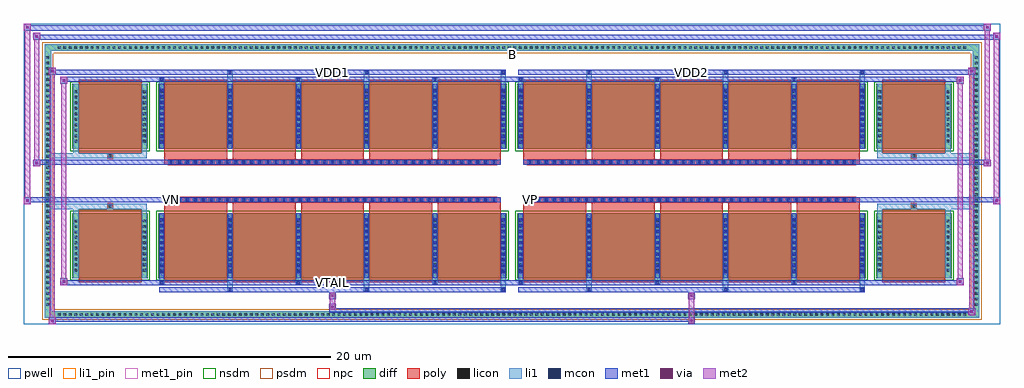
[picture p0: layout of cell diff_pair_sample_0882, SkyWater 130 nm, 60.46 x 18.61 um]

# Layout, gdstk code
import gdstk
lib = gdstk.Library(unit=1e-6, precision=5e-09)
def R(c, l, rs):  # rectangles x0, y0, x1, y1
    for r in rs: c.add(gdstk.rectangle(r[:2], r[2:], *l))
def A(c, l, x, y, w, h, nx, ny, dx, dy):  # array of equal rectangles
    R(c, l, [(x+i*dx, y+j*dy, x+i*dx+w, y+j*dy+h) for i in range(nx) for j in range(ny)])
def P(c, l, *ps):  # polygons
    for p in ps: c.add(gdstk.Polygon(p, *l))
pwell = (64, 44)
diff = (65, 20)
poly = (66, 20)
licon = (66, 44)
li1_pin = (67, 16)
li1 = (67, 20)
mcon = (67, 44)
met1_pin = (68, 16)
met1 = (68, 20)
via = (68, 44)
met2 = (69, 20)
nsdm = (93, 44)
psdm = (94, 20)
npc = (95, 20)

diff_pair_sample_0882 = lib.new_cell('diff_pair_sample_0882')
R(diff_pair_sample_0882, pwell, [(-30.23,-8.87,30.23,9.74), (-27.55,-7.06,-0.01,-0.8), (0.01,-7.06,27.55,-0.8), (-27.55,0.8,-0.01,7.06), (0.01,0.8,27.55,7.06)])
A(diff_pair_sample_0882, diff, -28.255, -8.47, 0.41, 0.41, 166, 2, 0.34, 16.53)
A(diff_pair_sample_0882, diff, -28.96, -7.855, 0.41, 0.41, 1, 46, 0, 0.34)
A(diff_pair_sample_0882, diff, 28.55, -7.855, 0.41, 0.41, 1, 46, 0, 0.34)
R(diff_pair_sample_0882, diff, [(-28.255,-8.47,28.255,-8.06), (-28.96,-7.855,-28.55,7.855), (28.55,-7.855,28.96,7.855), (-27.24,-6.015,-22.56,-1.985), (-21.92,-6.015,-0.32,-1.985), (0.32,-6.015,21.92,-1.985), (22.56,-6.015,27.24,-1.985), (-27.24,1.985,-22.56,6.015), (-21.92,1.985,-0.32,6.015), (0.32,1.985,21.92,6.015), (22.56,1.985,27.24,6.015), (-28.255,8.06,28.255,8.47)])
P(diff_pair_sample_0882, diff, [(28.96,8.47),(-28.96,8.47),(-28.96,-8.06),(-28.55,-8.06),(-28.55,8.06),(28.55,8.06),(28.55,-8.06),(-28.55,-8.06),(-28.96,-8.06),(-28.96,-8.47),(28.96,-8.47)])
A(diff_pair_sample_0882, poly, -21.53, -6.265, 3.9, 4.53, 5, 2, 4.23, 8)
A(diff_pair_sample_0882, poly, 0.71, -6.265, 3.9, 4.53, 5, 2, 4.23, 8)
A(diff_pair_sample_0882, poly, -21.53, -1.735, 3.9, 0.405, 5, 2, 4.23, 3.065)
A(diff_pair_sample_0882, poly, 0.71, -1.735, 3.9, 0.405, 5, 2, 4.23, 3.065)
A(diff_pair_sample_0882, poly, -21.285, -1.33, 0.33, 0.33, 41, 2, 0.5, 2.33)
A(diff_pair_sample_0882, poly, 0.955, -1.33, 0.33, 0.33, 41, 2, 0.5, 2.33)
R(diff_pair_sample_0882, poly, [(-26.85,-6.265,-22.95,-1.735), (22.95,-6.265,26.85,-1.735), (-25.065,-1.735,-24.735,-1.405), (-25.065,-1.735,-24.735,-1.405), (24.735,-1.735,25.065,-1.405), (24.735,-1.735,25.065,-1.405), (-21.53,-1.33,-0.71,-1), (0.71,-1.33,21.53,-1), (-21.53,1,-0.71,1.33), (0.71,1,21.53,1.33), (-25.065,1.405,-24.735,1.735), (-25.065,1.405,-24.735,1.735), (24.735,1.405,25.065,1.735), (24.735,1.405,25.065,1.735), (-26.85,1.735,-22.95,6.265), (22.95,1.735,26.85,6.265)])
A(diff_pair_sample_0882, licon, -28.135, -8.35, 0.17, 0.17, 166, 2, 0.34, 16.53)
A(diff_pair_sample_0882, licon, -28.84, -7.735, 0.17, 0.17, 1, 46, 0, 0.34)
A(diff_pair_sample_0882, licon, 28.67, -7.735, 0.17, 0.17, 1, 46, 0, 0.34)
A(diff_pair_sample_0882, licon, -27.1, -5.615, 0.17, 0.17, 1, 10, 0, 0.34)
A(diff_pair_sample_0882, licon, -22.87, -5.615, 0.17, 0.17, 1, 10, 0, 0.34)
A(diff_pair_sample_0882, licon, -21.78, -5.615, 0.17, 0.17, 6, 10, 4.23, 0.34)
A(diff_pair_sample_0882, licon, 0.46, -5.615, 0.17, 0.17, 6, 10, 4.23, 0.34)
A(diff_pair_sample_0882, licon, 22.7, -5.615, 0.17, 0.17, 1, 10, 0, 0.34)
A(diff_pair_sample_0882, licon, 26.93, -5.615, 0.17, 0.17, 1, 10, 0, 0.34)
A(diff_pair_sample_0882, licon, -21.205, -1.25, 0.17, 0.17, 41, 2, 0.5, 2.33)
A(diff_pair_sample_0882, licon, 1.035, -1.25, 0.17, 0.17, 41, 2, 0.5, 2.33)
A(diff_pair_sample_0882, licon, -27.1, 2.385, 0.17, 0.17, 1, 10, 0, 0.34)
A(diff_pair_sample_0882, licon, -22.87, 2.385, 0.17, 0.17, 1, 10, 0, 0.34)
A(diff_pair_sample_0882, licon, -21.78, 2.385, 0.17, 0.17, 6, 10, 4.23, 0.34)
A(diff_pair_sample_0882, licon, 0.46, 2.385, 0.17, 0.17, 6, 10, 4.23, 0.34)
A(diff_pair_sample_0882, licon, 22.7, 2.385, 0.17, 0.17, 1, 10, 0, 0.34)
A(diff_pair_sample_0882, licon, 26.93, 2.385, 0.17, 0.17, 1, 10, 0, 0.34)
R(diff_pair_sample_0882, licon, [(-24.985,-1.655,-24.815,-1.485), (24.815,-1.655,24.985,-1.485), (-24.985,1.485,-24.815,1.655), (24.815,1.485,24.985,1.655)])
R(diff_pair_sample_0882, li1_pin, [(-0.25,7.56,0.25,8.06)])
A(diff_pair_sample_0882, li1, -28.215, -8.43, 0.33, 0.33, 166, 2, 0.34, 16.53)
A(diff_pair_sample_0882, li1, -28.92, -7.815, 0.33, 0.33, 1, 46, 0, 0.34)
A(diff_pair_sample_0882, li1, 28.59, -7.815, 0.33, 0.33, 1, 46, 0, 0.34)
A(diff_pair_sample_0882, li1, -17.63, -6.82, 0.33, 0.805, 3, 2, 8.46, 12.835)
A(diff_pair_sample_0882, li1, -17.55, -6.82, 0.17, 0.17, 3, 2, 8.46, 13.47)
A(diff_pair_sample_0882, li1, 4.61, -6.82, 0.33, 0.805, 3, 2, 8.46, 12.835)
A(diff_pair_sample_0882, li1, 4.69, -6.82, 0.17, 0.17, 3, 2, 8.46, 13.47)
A(diff_pair_sample_0882, li1, -21.86, -6.39, 0.33, 0.375, 3, 2, 8.46, 12.405)
A(diff_pair_sample_0882, li1, -21.78, -6.39, 0.17, 0.17, 3, 2, 8.46, 12.61)
A(diff_pair_sample_0882, li1, 0.38, -6.39, 0.33, 0.375, 3, 2, 8.46, 12.405)
A(diff_pair_sample_0882, li1, 0.46, -6.39, 0.17, 0.17, 3, 2, 8.46, 12.61)
A(diff_pair_sample_0882, li1, -21.86, -6.015, 0.33, 4.03, 6, 2, 4.23, 8)
A(diff_pair_sample_0882, li1, 0.38, -6.015, 0.33, 4.03, 6, 2, 4.23, 8)
A(diff_pair_sample_0882, li1, -21.78, -5.705, 0.17, 0.17, 6, 10, 4.23, 0.36)
A(diff_pair_sample_0882, li1, -21.78, -5.705, 0.17, 3.41, 6, 2, 4.23, 8)
A(diff_pair_sample_0882, li1, 0.46, -5.705, 0.17, 0.17, 6, 10, 4.23, 0.36)
A(diff_pair_sample_0882, li1, 0.46, -5.705, 0.17, 3.41, 6, 2, 4.23, 8)
A(diff_pair_sample_0882, li1, -27.18, -5.695, 0.33, 0.33, 1, 10, 0, 0.34)
A(diff_pair_sample_0882, li1, -22.95, -5.695, 0.33, 0.33, 1, 10, 0, 0.34)
A(diff_pair_sample_0882, li1, -21.86, -5.695, 0.33, 0.33, 6, 10, 4.23, 0.34)
A(diff_pair_sample_0882, li1, 0.38, -5.695, 0.33, 0.33, 6, 10, 4.23, 0.34)
A(diff_pair_sample_0882, li1, 22.62, -5.695, 0.33, 0.33, 1, 10, 0, 0.34)
A(diff_pair_sample_0882, li1, 26.85, -5.695, 0.33, 0.33, 1, 10, 0, 0.34)
A(diff_pair_sample_0882, li1, -21.285, -1.33, 0.33, 0.33, 41, 2, 0.5, 2.33)
A(diff_pair_sample_0882, li1, 0.955, -1.33, 0.33, 0.33, 41, 2, 0.5, 2.33)
A(diff_pair_sample_0882, li1, -21.78, 2.295, 0.17, 0.17, 6, 10, 4.23, 0.36)
A(diff_pair_sample_0882, li1, 0.46, 2.295, 0.17, 0.17, 6, 10, 4.23, 0.36)
A(diff_pair_sample_0882, li1, -27.18, 2.305, 0.33, 0.33, 1, 10, 0, 0.34)
A(diff_pair_sample_0882, li1, -22.95, 2.305, 0.33, 0.33, 1, 10, 0, 0.34)
A(diff_pair_sample_0882, li1, -21.86, 2.305, 0.33, 0.33, 6, 10, 4.23, 0.34)
A(diff_pair_sample_0882, li1, 0.38, 2.305, 0.33, 0.33, 6, 10, 4.23, 0.34)
A(diff_pair_sample_0882, li1, 22.62, 2.305, 0.33, 0.33, 1, 10, 0, 0.34)
A(diff_pair_sample_0882, li1, 26.85, 2.305, 0.33, 0.33, 1, 10, 0, 0.34)
R(diff_pair_sample_0882, li1, [(-28.96,-8.47,-28.55,-8.06), (-28.96,-8.47,-28.55,-8.06), (-28.55,-8.47,28.55,-8.06), (28.55,-8.47,28.96,-8.06), (28.55,-8.47,28.96,-8.06), (-28.96,-8.06,-28.55,8.06), (28.55,-8.06,28.96,8.06), (-27.18,-6.015,-26.85,-1.985), (-22.95,-6.015,-22.62,-1.985), (22.62,-6.015,22.95,-1.985), (26.85,-6.015,27.18,-1.985), (-27.18,-1.985,-26.85,-1.405), (-22.95,-1.985,-22.62,-1.405), (22.62,-1.985,22.95,-1.405), (26.85,-1.985,27.18,-1.405), (-28.96,-1.735,-25.065,-1.405), (-27.18,-1.735,-25.065,-1.405), (-25.065,-1.735,-24.735,-1.405), (-24.735,-1.735,-22.62,-1.405), (22.62,-1.735,24.735,-1.405), (24.735,-1.735,25.065,-1.405), (24.735,-1.735,28.96,-1.405), (25.065,-1.735,27.18,-1.405), (-28.96,1.405,-25.065,1.735), (-27.18,1.405,-25.065,1.735), (-27.18,1.405,-26.85,1.985), (-25.065,1.405,-24.735,1.735), (-24.735,1.405,-22.62,1.735), (-22.95,1.405,-22.62,1.985), (22.62,1.405,24.735,1.735), (22.62,1.405,22.95,1.985), (24.735,1.405,25.065,1.735), (24.735,1.405,28.96,1.735), (25.065,1.405,27.18,1.735), (26.85,1.405,27.18,1.985), (-27.18,1.985,-26.85,6.015), (-22.95,1.985,-22.62,6.015), (22.62,1.985,22.95,6.015), (26.85,1.985,27.18,6.015), (-28.96,8.06,-28.55,8.47), (-28.96,8.06,-28.55,8.47), (-28.55,8.06,28.55,8.47), (28.55,8.06,28.96,8.47), (28.55,8.06,28.96,8.47)])
A(diff_pair_sample_0882, mcon, -17.55, -6.82, 0.17, 0.17, 3, 2, 8.46, 13.47)
A(diff_pair_sample_0882, mcon, 4.69, -6.82, 0.17, 0.17, 3, 2, 8.46, 13.47)
A(diff_pair_sample_0882, mcon, -21.78, -6.39, 0.17, 0.17, 3, 2, 8.46, 12.61)
A(diff_pair_sample_0882, mcon, 0.46, -6.39, 0.17, 0.17, 3, 2, 8.46, 12.61)
A(diff_pair_sample_0882, mcon, -21.78, -5.705, 0.17, 0.17, 6, 10, 4.23, 0.36)
A(diff_pair_sample_0882, mcon, 0.46, -5.705, 0.17, 0.17, 6, 10, 4.23, 0.36)
A(diff_pair_sample_0882, mcon, -21.205, -1.25, 0.17, 0.17, 41, 2, 0.5, 2.33)
A(diff_pair_sample_0882, mcon, 1.035, -1.25, 0.17, 0.17, 41, 2, 0.5, 2.33)
A(diff_pair_sample_0882, mcon, -21.78, 2.295, 0.17, 0.17, 6, 10, 4.23, 0.36)
A(diff_pair_sample_0882, mcon, 0.46, 2.295, 0.17, 0.17, 6, 10, 4.23, 0.36)
R(diff_pair_sample_0882, met1_pin, [(-11.255,-6.43,-10.985,-6.16), (-21.255,-1.29,-20.985,-1.02), (0.985,-1.29,1.255,-1.02), (-11.255,6.61,-10.985,6.88), (10.985,6.61,11.255,6.88)])
A(diff_pair_sample_0882, met1, -17.61, -6.88, 0.29, 0.29, 3, 2, 8.46, 13.47)
A(diff_pair_sample_0882, met1, 4.63, -6.88, 0.29, 0.29, 3, 2, 8.46, 13.47)
A(diff_pair_sample_0882, met1, -21.84, -6.45, 0.29, 0.29, 3, 2, 8.46, 12.61)
A(diff_pair_sample_0882, met1, 0.4, -6.45, 0.29, 0.29, 3, 2, 8.46, 12.61)
A(diff_pair_sample_0882, met1, -21.84, -6.015, 0.29, 4.03, 6, 2, 4.23, 8)
A(diff_pair_sample_0882, met1, 0.4, -6.015, 0.29, 4.03, 6, 2, 4.23, 8)
A(diff_pair_sample_0882, met1, -21.84, -5.765, 0.29, 0.29, 6, 10, 4.23, 0.36)
A(diff_pair_sample_0882, met1, 0.4, -5.765, 0.29, 0.29, 6, 10, 4.23, 0.36)
A(diff_pair_sample_0882, met1, -21.265, -1.31, 0.29, 0.29, 41, 2, 0.5, 2.33)
A(diff_pair_sample_0882, met1, 0.975, -1.31, 0.29, 0.29, 41, 2, 0.5, 2.33)
A(diff_pair_sample_0882, met1, -21.84, 2.235, 0.29, 0.29, 6, 10, 4.23, 0.36)
A(diff_pair_sample_0882, met1, 0.4, 2.235, 0.29, 0.29, 6, 10, 4.23, 0.36)
R(diff_pair_sample_0882, met1, [(-28.69,-8.87,-28.26,-8.44), (10.905,-8.87,11.335,-8.44), (-28.69,-8.73,11.335,-8.44), (28.26,-8.3,28.69,-7.87), (-11.335,-8.16,28.69,-7.87), (-11.335,-8.02,-10.905,-7.59), (-11.335,-7.31,-10.905,-6.88), (10.905,-7.31,11.335,-6.88), (-21.84,-6.88,-0.4,-6.59), (0.4,-6.88,21.84,-6.59), (-27.98,-6.45,-27.55,-6.02), (-27.98,-6.45,-21.84,-6.16), (-21.84,-6.45,-0.4,-6.16), (-0.4,-6.45,0.4,-6.16), (0.4,-6.45,21.84,-6.16), (21.84,-6.45,27.98,-6.16), (27.55,-6.45,27.98,-6.02), (-30.23,-1.43,-29.8,-1), (29.8,-1.43,30.23,-1), (-30.23,-1.33,-0.71,-1), (-21.53,-1.33,-0.71,-1), (0.71,-1.33,21.53,-1), (0.71,-1.33,30.23,-1), (-29.66,0.9,-29.23,1.33), (29.23,0.9,29.66,1.33), (-29.66,1,-21.53,1.33), (-21.53,1,-0.71,1.33), (0.71,1,21.53,1.33), (21.53,1,29.66,1.33), (-27.98,6.02,-27.55,6.45), (27.55,6.02,27.98,6.45), (-27.98,6.16,-21.84,6.45), (-21.84,6.16,-0.4,6.45), (-0.4,6.16,0.4,6.45), (0.4,6.16,21.84,6.45), (21.84,6.16,27.98,6.45), (-28.69,6.59,-28.26,7.02), (-28.69,6.59,-21.84,6.88), (-21.84,6.59,-0.4,6.88), (0.4,6.59,21.84,6.88), (21.84,6.59,28.69,6.88), (28.26,6.59,28.69,7.02), (-29.66,8.74,-29.23,9.17), (-29.66,8.74,-27.55,9.07), (-27.55,8.74,27.55,9.07), (27.55,8.74,30.23,9.07), (29.8,8.74,30.23,9.17), (-30.23,9.31,-29.8,9.74), (-30.23,9.31,-27.55,9.64), (-27.55,9.31,27.55,9.64), (27.55,9.31,29.66,9.64), (29.23,9.31,29.66,9.74)])
R(diff_pair_sample_0882, via, [(-28.55,-8.73,-28.4,-8.58), (11.045,-8.73,11.195,-8.58), (28.4,-8.16,28.55,-8.01), (-11.195,-7.88,-11.045,-7.73), (-11.195,-7.17,-11.045,-7.02), (11.045,-7.17,11.195,-7.02), (-27.84,-6.31,-27.69,-6.16), (27.69,-6.31,27.84,-6.16), (-30.09,-1.29,-29.94,-1.14), (29.94,-1.29,30.09,-1.14), (-29.52,1.04,-29.37,1.19), (29.37,1.04,29.52,1.19), (-27.84,6.16,-27.69,6.31), (27.69,6.16,27.84,6.31), (-28.55,6.73,-28.4,6.88), (28.4,6.73,28.55,6.88), (-29.52,8.88,-29.37,9.03), (29.94,8.88,30.09,9.03), (-30.09,9.45,-29.94,9.6), (29.37,9.45,29.52,9.6)])
R(diff_pair_sample_0882, met2, [(-28.69,-8.87,-28.26,-8.44), (-28.62,-8.87,-28.33,7.02), (-28.33,-8.87,-28.26,-8.44), (-28.64,-8.82,-28.31,-8.49), (10.955,-8.82,11.285,-8.49), (10.955,-8.49,11.285,-7.26), (28.26,-8.3,28.69,-7.87), (28.33,-8.3,28.62,7.02), (28.62,-8.3,28.69,-7.87), (28.31,-8.25,28.64,-7.92), (-11.285,-7.97,-10.955,-7.64), (-11.285,-7.64,-10.955,-7.26), (-11.285,-7.26,-10.955,-6.93), (10.955,-7.26,11.285,-6.93), (-27.98,-6.45,-27.55,-6.02), (-27.91,-6.45,-27.62,6.45), (-27.62,-6.45,-27.55,-6.02), (27.55,-6.45,27.98,-6.02), (27.62,-6.45,27.91,6.45), (27.91,-6.45,27.98,-6.02), (-27.93,-6.4,-27.6,-6.07), (27.6,-6.4,27.93,-6.07), (-30.23,-1.43,-29.8,-1), (-30.18,-1.43,-29.85,9.74), (-29.85,-1.43,-29.8,-1), (29.8,-1.43,30.23,-1), (29.85,-1.43,30.18,9.17), (30.18,-1.43,30.23,-1), (-30.18,-1.38,-29.85,-1.05), (29.85,-1.38,30.18,-1.05), (-29.66,0.9,-29.23,1.33), (-29.61,0.9,-29.28,9.17), (-29.28,0.9,-29.23,1.33), (29.23,0.9,29.66,1.33), (29.28,0.9,29.61,9.74), (29.61,0.9,29.66,1.33), (-29.61,0.95,-29.28,1.28), (29.28,0.95,29.61,1.28), (-27.98,6.02,-27.55,6.45), (-27.62,6.02,-27.55,6.45), (27.55,6.02,27.98,6.45), (27.91,6.02,27.98,6.45), (-27.93,6.07,-27.6,6.4), (27.6,6.07,27.93,6.4), (-28.69,6.59,-28.26,7.02), (-28.33,6.59,-28.26,7.02), (28.26,6.59,28.69,7.02), (28.62,6.59,28.69,7.02), (-28.64,6.64,-28.31,6.97), (28.31,6.64,28.64,6.97), (-29.66,8.74,-29.23,9.17), (-29.28,8.74,-29.23,9.17), (29.8,8.74,30.23,9.17), (30.18,8.74,30.23,9.17), (-29.61,8.79,-29.28,9.12), (29.85,8.79,30.18,9.12), (-30.23,9.31,-29.8,9.74), (-29.85,9.31,-29.8,9.74), (29.23,9.31,29.66,9.74), (29.61,9.31,29.66,9.74), (-30.18,9.36,-29.85,9.69), (29.28,9.36,29.61,9.69)])
R(diff_pair_sample_0882, nsdm, [(-27.37,-6.145,-22.43,-1.855), (-22.05,-6.145,-0.19,-1.855), (0.19,-6.145,22.05,-1.855), (22.43,-6.145,27.37,-1.855), (-27.37,1.855,-22.43,6.145), (-22.05,1.855,-0.19,6.145), (0.19,1.855,22.05,6.145), (22.43,1.855,27.37,6.145)])
P(diff_pair_sample_0882, psdm, [(29.09,8.6),(-29.09,8.6),(-29.09,-7.93),(-28.42,-7.93),(-28.42,7.93),(28.42,7.93),(28.42,-7.93),(-28.42,-7.93),(-29.09,-7.93),(-29.09,-8.6),(29.09,-8.6)])
A(diff_pair_sample_0882, npc, -21.305, -1.35, 0.37, 0.37, 41, 2, 0.5, 2.33)
A(diff_pair_sample_0882, npc, 0.935, -1.35, 0.37, 0.37, 41, 2, 0.5, 2.33)
R(diff_pair_sample_0882, npc, [(-25.085,-1.755,-24.715,-1.385), (24.715,-1.755,25.085,-1.385), (-21.305,-1.35,-20.435,-0.98), (-21.305,-1.35,-20.435,-0.98), (-20.805,-1.35,-19.935,-0.98), (-20.805,-1.35,-19.935,-0.98), (-20.305,-1.35,-19.435,-0.98), (-20.305,-1.35,-19.435,-0.98), (-19.805,-1.35,-18.935,-0.98), (-19.805,-1.35,-18.935,-0.98), (-19.305,-1.35,-18.435,-0.98), (-19.305,-1.35,-18.435,-0.98), (-18.805,-1.35,-17.935,-0.98), (-18.805,-1.35,-17.935,-0.98), (-18.305,-1.35,-17.435,-0.98), (-18.305,-1.35,-17.435,-0.98), (-17.805,-1.35,-16.935,-0.98), (-17.805,-1.35,-16.935,-0.98), (-17.305,-1.35,-16.435,-0.98), (-17.305,-1.35,-16.435,-0.98), (-16.805,-1.35,-15.935,-0.98), (-16.805,-1.35,-15.935,-0.98), (-16.305,-1.35,-15.435,-0.98), (-16.305,-1.35,-15.435,-0.98), (-15.805,-1.35,-14.935,-0.98), (-15.805,-1.35,-14.935,-0.98), (-15.305,-1.35,-14.435,-0.98), (-15.305,-1.35,-14.435,-0.98), (-14.805,-1.35,-13.935,-0.98), (-14.805,-1.35,-13.935,-0.98), (-14.305,-1.35,-13.435,-0.98), (-14.305,-1.35,-13.435,-0.98), (-13.805,-1.35,-12.935,-0.98), (-13.805,-1.35,-12.935,-0.98), (-13.305,-1.35,-12.435,-0.98), (-13.305,-1.35,-12.435,-0.98), (-12.805,-1.35,-11.935,-0.98), (-12.805,-1.35,-11.935,-0.98), (-12.305,-1.35,-11.435,-0.98), (-12.305,-1.35,-11.435,-0.98), (-11.805,-1.35,-10.935,-0.98), (-11.805,-1.35,-10.935,-0.98), (-11.305,-1.35,-10.435,-0.98), (-11.305,-1.35,-10.435,-0.98), (-10.805,-1.35,-9.935,-0.98), (-10.805,-1.35,-9.935,-0.98), (-10.305,-1.35,-9.435,-0.98), (-10.305,-1.35,-9.435,-0.98), (-9.805,-1.35,-8.935,-0.98), (-9.805,-1.35,-8.935,-0.98), (-9.305,-1.35,-8.435,-0.98), (-9.305,-1.35,-8.435,-0.98), (-8.805,-1.35,-7.935,-0.98), (-8.805,-1.35,-7.935,-0.98), (-8.305,-1.35,-7.435,-0.98), (-8.305,-1.35,-7.435,-0.98), (-7.805,-1.35,-6.935,-0.98), (-7.805,-1.35,-6.935,-0.98), (-7.305,-1.35,-6.435,-0.98), (-7.305,-1.35,-6.435,-0.98), (-6.805,-1.35,-5.935,-0.98), (-6.805,-1.35,-5.935,-0.98), (-6.305,-1.35,-5.435,-0.98), (-6.305,-1.35,-5.435,-0.98), (-5.805,-1.35,-4.935,-0.98), (-5.805,-1.35,-4.935,-0.98), (-5.305,-1.35,-4.435,-0.98), (-5.305,-1.35,-4.435,-0.98), (-4.805,-1.35,-3.935,-0.98), (-4.805,-1.35,-3.935,-0.98), (-4.305,-1.35,-3.435,-0.98), (-4.305,-1.35,-3.435,-0.98), (-3.805,-1.35,-2.935,-0.98), (-3.805,-1.35,-2.935,-0.98), (-3.305,-1.35,-2.435,-0.98), (-3.305,-1.35,-2.435,-0.98), (-2.805,-1.35,-1.935,-0.98), (-2.805,-1.35,-1.935,-0.98), (-2.305,-1.35,-1.435,-0.98), (-2.305,-1.35,-1.435,-0.98), (-1.805,-1.35,-0.935,-0.98), (-1.805,-1.35,-0.935,-0.98), (0.935,-1.35,1.805,-0.98), (0.935,-1.35,1.805,-0.98), (1.435,-1.35,2.305,-0.98), (1.435,-1.35,2.305,-0.98), (1.935,-1.35,2.805,-0.98), (1.935,-1.35,2.805,-0.98), (2.435,-1.35,3.305,-0.98), (2.435,-1.35,3.305,-0.98), (2.935,-1.35,3.805,-0.98), (2.935,-1.35,3.805,-0.98), (3.435,-1.35,4.305,-0.98), (3.435,-1.35,4.305,-0.98), (3.935,-1.35,4.805,-0.98), (3.935,-1.35,4.805,-0.98), (4.435,-1.35,5.305,-0.98), (4.435,-1.35,5.305,-0.98), (4.935,-1.35,5.805,-0.98), (4.935,-1.35,5.805,-0.98), (5.435,-1.35,6.305,-0.98), (5.435,-1.35,6.305,-0.98), (5.935,-1.35,6.805,-0.98), (5.935,-1.35,6.805,-0.98), (6.435,-1.35,7.305,-0.98), (6.435,-1.35,7.305,-0.98), (6.935,-1.35,7.805,-0.98), (6.935,-1.35,7.805,-0.98), (7.435,-1.35,8.305,-0.98), (7.435,-1.35,8.305,-0.98), (7.935,-1.35,8.805,-0.98), (7.935,-1.35,8.805,-0.98), (8.435,-1.35,9.305,-0.98), (8.435,-1.35,9.305,-0.98), (8.935,-1.35,9.805,-0.98), (8.935,-1.35,9.805,-0.98), (9.435,-1.35,10.305,-0.98), (9.435,-1.35,10.305,-0.98), (9.935,-1.35,10.805,-0.98), (9.935,-1.35,10.805,-0.98), (10.435,-1.35,11.305,-0.98), (10.435,-1.35,11.305,-0.98), (10.935,-1.35,11.805,-0.98), (10.935,-1.35,11.805,-0.98), (11.435,-1.35,12.305,-0.98), (11.435,-1.35,12.305,-0.98), (11.935,-1.35,12.805,-0.98), (11.935,-1.35,12.805,-0.98), (12.435,-1.35,13.305,-0.98), (12.435,-1.35,13.305,-0.98), (12.935,-1.35,13.805,-0.98), (12.935,-1.35,13.805,-0.98), (13.435,-1.35,14.305,-0.98), (13.435,-1.35,14.305,-0.98), (13.935,-1.35,14.805,-0.98), (13.935,-1.35,14.805,-0.98), (14.435,-1.35,15.305,-0.98), (14.435,-1.35,15.305,-0.98), (14.935,-1.35,15.805,-0.98), (14.935,-1.35,15.805,-0.98), (15.435,-1.35,16.305,-0.98), (15.435,-1.35,16.305,-0.98), (15.935,-1.35,16.805,-0.98), (15.935,-1.35,16.805,-0.98), (16.435,-1.35,17.305,-0.98), (16.435,-1.35,17.305,-0.98), (16.935,-1.35,17.805,-0.98), (16.935,-1.35,17.805,-0.98), (17.435,-1.35,18.305,-0.98), (17.435,-1.35,18.305,-0.98), (17.935,-1.35,18.805,-0.98), (17.935,-1.35,18.805,-0.98), (18.435,-1.35,19.305,-0.98), (18.435,-1.35,19.305,-0.98), (18.935,-1.35,19.805,-0.98), (18.935,-1.35,19.805,-0.98), (19.435,-1.35,20.305,-0.98), (19.435,-1.35,20.305,-0.98), (19.935,-1.35,20.805,-0.98), (19.935,-1.35,20.805,-0.98), (20.435,-1.35,21.305,-0.98), (20.435,-1.35,21.305,-0.98), (-21.305,0.98,-20.435,1.35), (-21.305,0.98,-20.435,1.35), (-20.805,0.98,-19.935,1.35), (-20.805,0.98,-19.935,1.35), (-20.305,0.98,-19.435,1.35), (-20.305,0.98,-19.435,1.35), (-19.805,0.98,-18.935,1.35), (-19.805,0.98,-18.935,1.35), (-19.305,0.98,-18.435,1.35), (-19.305,0.98,-18.435,1.35), (-18.805,0.98,-17.935,1.35), (-18.805,0.98,-17.935,1.35), (-18.305,0.98,-17.435,1.35), (-18.305,0.98,-17.435,1.35), (-17.805,0.98,-16.935,1.35), (-17.805,0.98,-16.935,1.35), (-17.305,0.98,-16.435,1.35), (-17.305,0.98,-16.435,1.35), (-16.805,0.98,-15.935,1.35), (-16.805,0.98,-15.935,1.35), (-16.305,0.98,-15.435,1.35), (-16.305,0.98,-15.435,1.35), (-15.805,0.98,-14.935,1.35), (-15.805,0.98,-14.935,1.35), (-15.305,0.98,-14.435,1.35), (-15.305,0.98,-14.435,1.35), (-14.805,0.98,-13.935,1.35), (-14.805,0.98,-13.935,1.35), (-14.305,0.98,-13.435,1.35), (-14.305,0.98,-13.435,1.35), (-13.805,0.98,-12.935,1.35), (-13.805,0.98,-12.935,1.35), (-13.305,0.98,-12.435,1.35), (-13.305,0.98,-12.435,1.35), (-12.805,0.98,-11.935,1.35), (-12.805,0.98,-11.935,1.35), (-12.305,0.98,-11.435,1.35), (-12.305,0.98,-11.435,1.35), (-11.805,0.98,-10.935,1.35), (-11.805,0.98,-10.935,1.35), (-11.305,0.98,-10.435,1.35), (-11.305,0.98,-10.435,1.35), (-10.805,0.98,-9.935,1.35), (-10.805,0.98,-9.935,1.35), (-10.305,0.98,-9.435,1.35), (-10.305,0.98,-9.435,1.35), (-9.805,0.98,-8.935,1.35), (-9.805,0.98,-8.935,1.35), (-9.305,0.98,-8.435,1.35), (-9.305,0.98,-8.435,1.35), (-8.805,0.98,-7.935,1.35), (-8.805,0.98,-7.935,1.35), (-8.305,0.98,-7.435,1.35), (-8.305,0.98,-7.435,1.35), (-7.805,0.98,-6.935,1.35), (-7.805,0.98,-6.935,1.35), (-7.305,0.98,-6.435,1.35), (-7.305,0.98,-6.435,1.35), (-6.805,0.98,-5.935,1.35), (-6.805,0.98,-5.935,1.35), (-6.305,0.98,-5.435,1.35), (-6.305,0.98,-5.435,1.35), (-5.805,0.98,-4.935,1.35), (-5.805,0.98,-4.935,1.35), (-5.305,0.98,-4.435,1.35), (-5.305,0.98,-4.435,1.35), (-4.805,0.98,-3.935,1.35), (-4.805,0.98,-3.935,1.35), (-4.305,0.98,-3.435,1.35), (-4.305,0.98,-3.435,1.35), (-3.805,0.98,-2.935,1.35), (-3.805,0.98,-2.935,1.35), (-3.305,0.98,-2.435,1.35), (-3.305,0.98,-2.435,1.35), (-2.805,0.98,-1.935,1.35), (-2.805,0.98,-1.935,1.35), (-2.305,0.98,-1.435,1.35), (-2.305,0.98,-1.435,1.35), (-1.805,0.98,-0.935,1.35), (-1.805,0.98,-0.935,1.35), (0.935,0.98,1.805,1.35), (0.935,0.98,1.805,1.35), (1.435,0.98,2.305,1.35), (1.435,0.98,2.305,1.35), (1.935,0.98,2.805,1.35), (1.935,0.98,2.805,1.35), (2.435,0.98,3.305,1.35), (2.435,0.98,3.305,1.35), (2.935,0.98,3.805,1.35), (2.935,0.98,3.805,1.35), (3.435,0.98,4.305,1.35), (3.435,0.98,4.305,1.35), (3.935,0.98,4.805,1.35), (3.935,0.98,4.805,1.35), (4.435,0.98,5.305,1.35), (4.435,0.98,5.305,1.35), (4.935,0.98,5.805,1.35), (4.935,0.98,5.805,1.35), (5.435,0.98,6.305,1.35), (5.435,0.98,6.305,1.35), (5.935,0.98,6.805,1.35), (5.935,0.98,6.805,1.35), (6.435,0.98,7.305,1.35), (6.435,0.98,7.305,1.35), (6.935,0.98,7.805,1.35), (6.935,0.98,7.805,1.35), (7.435,0.98,8.305,1.35), (7.435,0.98,8.305,1.35), (7.935,0.98,8.805,1.35), (7.935,0.98,8.805,1.35), (8.435,0.98,9.305,1.35), (8.435,0.98,9.305,1.35), (8.935,0.98,9.805,1.35), (8.935,0.98,9.805,1.35), (9.435,0.98,10.305,1.35), (9.435,0.98,10.305,1.35), (9.935,0.98,10.805,1.35), (9.935,0.98,10.805,1.35), (10.435,0.98,11.305,1.35), (10.435,0.98,11.305,1.35), (10.935,0.98,11.805,1.35), (10.935,0.98,11.805,1.35), (11.435,0.98,12.305,1.35), (11.435,0.98,12.305,1.35), (11.935,0.98,12.805,1.35), (11.935,0.98,12.805,1.35), (12.435,0.98,13.305,1.35), (12.435,0.98,13.305,1.35), (12.935,0.98,13.805,1.35), (12.935,0.98,13.805,1.35), (13.435,0.98,14.305,1.35), (13.435,0.98,14.305,1.35), (13.935,0.98,14.805,1.35), (13.935,0.98,14.805,1.35), (14.435,0.98,15.305,1.35), (14.435,0.98,15.305,1.35), (14.935,0.98,15.805,1.35), (14.935,0.98,15.805,1.35), (15.435,0.98,16.305,1.35), (15.435,0.98,16.305,1.35), (15.935,0.98,16.805,1.35), (15.935,0.98,16.805,1.35), (16.435,0.98,17.305,1.35), (16.435,0.98,17.305,1.35), (16.935,0.98,17.805,1.35), (16.935,0.98,17.805,1.35), (17.435,0.98,18.305,1.35), (17.435,0.98,18.305,1.35), (17.935,0.98,18.805,1.35), (17.935,0.98,18.805,1.35), (18.435,0.98,19.305,1.35), (18.435,0.98,19.305,1.35), (18.935,0.98,19.805,1.35), (18.935,0.98,19.805,1.35), (19.435,0.98,20.305,1.35), (19.435,0.98,20.305,1.35), (19.935,0.98,20.805,1.35), (19.935,0.98,20.805,1.35), (20.435,0.98,21.305,1.35), (20.435,0.98,21.305,1.35), (-25.085,1.385,-24.715,1.755), (24.715,1.385,25.085,1.755)])
diff_pair_sample_0882.add(gdstk.Label('VTAIL', (-11.12,-6.295), layer=68, texttype=5))
diff_pair_sample_0882.add(gdstk.Label('VN', (-21.12,-1.155), layer=68, texttype=5))
diff_pair_sample_0882.add(gdstk.Label('VP', (1.12,-1.155), layer=68, texttype=5))
diff_pair_sample_0882.add(gdstk.Label('B', (0,7.81), layer=67, texttype=5))
diff_pair_sample_0882.add(gdstk.Label('VDD2', (11.12,6.745), layer=68, texttype=5))
diff_pair_sample_0882.add(gdstk.Label('VDD1', (-11.12,6.745), layer=68, texttype=5))

lib.write_gds('diff_pair_sample_0882.gds')
